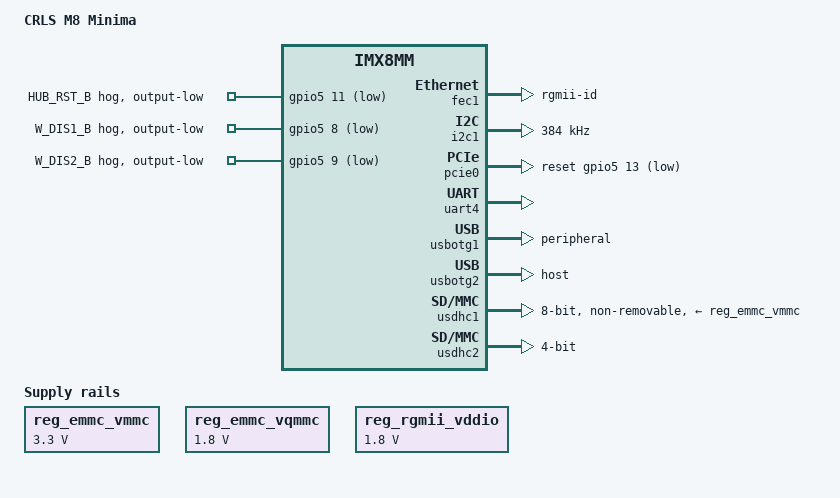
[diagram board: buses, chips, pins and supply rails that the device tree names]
// SPDX-License-Identifier: GPL-2.0+
/*
 * Copyright 2020 NXP
 */

/dts-v1/;

#include "imx8mm-m8-minima-evk-base.dtsi"


/ {
	model = "CRLS M8 Minima";
	compatible = "crls,m8-minima", "fsl,imx8mm";

	/* EVK peripherals that are not on this board (see MIMX8MM6xxxLZ.mex) */
	/delete-node/ hdmi-connector;
	/delete-node/ leds;
	/delete-node/ backlight;
	/delete-node/ ir-receiver;
	/delete-node/ sound-bt-sco;
	/delete-node/ sound-wm8524;
	/delete-node/ sound-micfil;
	/delete-node/ sound-spdif;
	/delete-node/ audio-codec-bt-sco;
	/delete-node/ audio-codec;
	/delete-node/ spdif-out;
	/delete-node/ spdif-in;
	/delete-node/ regulator-usdhc2;
};

/* Only I2C1 (PMIC) is routed; I2C2/I2C3 carry EVK-only devices */
&i2c2 {
	status = "disabled";
	/delete-node/ hdmi@3d;
	/delete-node/ tcpc@50;
};

&i2c3 {
	status = "disabled";
};

&csi {
	status = "disabled";
};

&mipi_csi {
	status = "disabled";
};

&lcdif {
	status = "disabled";
};

&mipi_dsi {
	status = "disabled";

	ports {
		/delete-node/ port@1;
	};
};

&micfil {
	status = "disabled";
};

/* SAI2_TXC is reused for ENET_INT_B */
&sai2 {
	status = "disabled";
};

&sai3 {
	status = "disabled";
};

&pwm1 {
	status = "disabled";
};

&fec1 {
	pinctrl-0 = <&pinctrl_fec1>, <&pinctrl_enet_ctrl>;
	phy-mode = "rgmii-id";
};

&ethphy0 {
	reg = <1>;
	/delete-property/ qca,disable-smarteee;
	/*
	 * Rev 2: PHYRSTB is a 3.3 V input on the RTL8211F, so ENET_RST_B moved
	 * from SAI2_TXFS (1.8 V NVCC_SAI2) to I2C4_SDA (3.3 V NVCC_I2C).
	 */
	reset-gpios = <&gpio5 21 GPIO_ACTIVE_LOW>;	/* ENET_RST_B, I2C4_SDA */
	interrupt-parent = <&gpio4>;
	interrupts = <25 IRQ_TYPE_LEVEL_LOW>;		/* ENET_INT_B, SAI2_TXC */
	vddio-supply = <&reg_rgmii_vddio>;
};

&i2c1 {
	clock-frequency = <384000>;
};

/*
 * M.2 Key-E (J1101), populated with an Intel AX210: PCIe x1 for WiFi,
 * USB2 (via USB2514B DN4) for Bluetooth. There is no external clock
 * generator; the SoC drives the 100 MHz refclk out of PCIE_REF_PAD_CLK.
 * CLKREQ# is routed, but the refclk is kept free-running for bring-up.
 */
&pcie_phy {
	clocks = <&clk IMX8MM_CLK_PCIE1_PHY>;
	clock-names = "ref";
	fsl,refclk-pad-mode = <IMX8_PCIE_REFCLK_PAD_OUTPUT>;
	fsl,clkreq-unsupported;
};

&pcie0 {
	pinctrl-names = "default";
	pinctrl-0 = <&pinctrl_pcie0>;
	reset-gpio = <&gpio5 13 GPIO_ACTIVE_LOW>;	/* PCI_RST_B, ECSPI2_SS0 */
	clocks = <&clk IMX8MM_CLK_PCIE1_ROOT>, <&clk IMX8MM_CLK_PCIE1_PHY>,
		 <&clk IMX8MM_CLK_PCIE1_AUX>;
	vpcie-supply = <&reg_pcie0>;
	status = "okay";
};

/* M.2 3.3 V comes straight from BUCK6, no load switch */
&reg_pcie0 {
	/delete-property/ pinctrl-names;
	/delete-property/ pinctrl-0;
	/delete-property/ gpio;
	/delete-property/ enable-active-high;
	regulator-name = "M2_3V3";
	regulator-always-on;
};

/*
 * UART2/UART4 are 115200 login consoles (CH342K). SDMA needs NXP's
 * sdma-imx7d.bin (not shipped), and without it UART4 floods the log with
 * "cannot prepare for the TX slave dma", so run both in PIO mode.
 */
&uart2 {
	/delete-property/ dmas;
	/delete-property/ dma-names;
};

&uart4 {
	pinctrl-names = "default";
	pinctrl-0 = <&pinctrl_uart4>;
	/delete-property/ dmas;
	/delete-property/ dma-names;
	status = "okay";
};

&usbotg1 {
	dr_mode = "peripheral";
	/delete-property/ hnp-disable;
	/delete-property/ srp-disable;
	/delete-property/ adp-disable;
	/delete-property/ usb-role-switch;
	/delete-property/ disable-over-current;
	/delete-node/ port;
};

&usbotg2 {
	dr_mode = "host";
	status = "okay";
};

&usdhc1 {
	pinctrl-names = "default", "state_100mhz", "state_200mhz";
	pinctrl-0 = <&pinctrl_usdhc1>;
	pinctrl-1 = <&pinctrl_usdhc1_100mhz>;
	pinctrl-2 = <&pinctrl_usdhc1_200mhz>;
	bus-width = <8>;
	vmmc-supply = <&reg_emmc_vmmc>;
	vqmmc-supply = <&reg_emmc_vqmmc>;
	non-removable;
	status = "okay";
};

/* microSD: no card-detect line on this board */
&usdhc2 {
	/delete-property/ cd-gpios;
	/delete-property/ vmmc-supply;
	pinctrl-0 = <&pinctrl_usdhc2>;
	pinctrl-1 = <&pinctrl_usdhc2_100mhz>;
	pinctrl-2 = <&pinctrl_usdhc2_200mhz>;
	broken-cd;
	bus-width = <4>;
	status = "okay";
};

&wdog1 {
	pinctrl-0 = <&pinctrl_wdog>;
};

&iomuxc {
	/* EVK group minus SAI2_RXC (EVK PHY reset, unused here) */
	pinctrl_fec1: fec1grp {
		fsl,pins = <
			MX8MM_IOMUXC_ENET_MDC_ENET1_MDC			0x3
			MX8MM_IOMUXC_ENET_MDIO_ENET1_MDIO		0x3
			MX8MM_IOMUXC_ENET_TD3_ENET1_RGMII_TD3		0x1f
			MX8MM_IOMUXC_ENET_TD2_ENET1_RGMII_TD2		0x1f
			MX8MM_IOMUXC_ENET_TD1_ENET1_RGMII_TD1		0x1f
			MX8MM_IOMUXC_ENET_TD0_ENET1_RGMII_TD0		0x1f
			MX8MM_IOMUXC_ENET_RD3_ENET1_RGMII_RD3		0x91
			MX8MM_IOMUXC_ENET_RD2_ENET1_RGMII_RD2		0x91
			MX8MM_IOMUXC_ENET_RD1_ENET1_RGMII_RD1		0x91
			MX8MM_IOMUXC_ENET_RD0_ENET1_RGMII_RD0		0x91
			MX8MM_IOMUXC_ENET_TXC_ENET1_RGMII_TXC		0x1f
			MX8MM_IOMUXC_ENET_RXC_ENET1_RGMII_RXC		0x91
			MX8MM_IOMUXC_ENET_RX_CTL_ENET1_RGMII_RX_CTL	0x91
			MX8MM_IOMUXC_ENET_TX_CTL_ENET1_RGMII_TX_CTL	0x1f
		>;
	};

	pinctrl_enet_ctrl: enetctrlgrp {
		fsl,pins = <
			MX8MM_IOMUXC_I2C4_SDA_GPIO5_IO21	0x19	/* ENET_RST_B */
			MX8MM_IOMUXC_SAI2_TXC_GPIO4_IO25	0x141	/* ENET_INT_B */
		>;
	};

	pinctrl_pcie0: pcie0grp {
		fsl,pins = <
			MX8MM_IOMUXC_I2C4_SCL_PCIE1_CLKREQ_B	0x61	/* CLKREQ_B */
			MX8MM_IOMUXC_ECSPI2_SS0_GPIO5_IO13	0x19	/* PCI_RST_B */
		>;
	};

	/* 3.3 V (NVCC_ECSPI) sidebands, all with 10k pull-ups to 3.3 V */
	pinctrl_gpio5: gpio5grp {
		fsl,pins = <
			MX8MM_IOMUXC_ECSPI2_MOSI_GPIO5_IO11	0x19	/* HUB_RST_B */
			MX8MM_IOMUXC_ECSPI1_MISO_GPIO5_IO8	0x19	/* W_DIS1_B (WiFi) */
			MX8MM_IOMUXC_ECSPI1_SS0_GPIO5_IO9	0x19	/* W_DIS2_B (BT) */
			MX8MM_IOMUXC_ECSPI2_MISO_GPIO5_IO12	0x140	/* PCI_WAKE_B */
		>;
	};

	pinctrl_uart4: uart4grp {
		fsl,pins = <
			MX8MM_IOMUXC_UART4_RXD_UART4_DCE_RX	0x140
			MX8MM_IOMUXC_UART4_TXD_UART4_DCE_TX	0x140
		>;
	};

	pinctrl_usdhc1: usdhc1grp {
		fsl,pins = <
			MX8MM_IOMUXC_SD1_CLK_USDHC1_CLK		0x190
			MX8MM_IOMUXC_SD1_CMD_USDHC1_CMD		0x1d0
			MX8MM_IOMUXC_SD1_DATA0_USDHC1_DATA0	0x1d0
			MX8MM_IOMUXC_SD1_DATA1_USDHC1_DATA1	0x1d0
			MX8MM_IOMUXC_SD1_DATA2_USDHC1_DATA2	0x1d0
			MX8MM_IOMUXC_SD1_DATA3_USDHC1_DATA3	0x1d0
			MX8MM_IOMUXC_SD1_DATA4_USDHC1_DATA4	0x1d0
			MX8MM_IOMUXC_SD1_DATA5_USDHC1_DATA5	0x1d0
			MX8MM_IOMUXC_SD1_DATA6_USDHC1_DATA6	0x1d0
			MX8MM_IOMUXC_SD1_DATA7_USDHC1_DATA7	0x1d0
			MX8MM_IOMUXC_SD1_STROBE_USDHC1_STROBE	0x190
		>;
	};

	pinctrl_usdhc1_100mhz: usdhc1-100mhzgrp {
		fsl,pins = <
			MX8MM_IOMUXC_SD1_CLK_USDHC1_CLK		0x194
			MX8MM_IOMUXC_SD1_CMD_USDHC1_CMD		0x1d4
			MX8MM_IOMUXC_SD1_DATA0_USDHC1_DATA0	0x1d4
			MX8MM_IOMUXC_SD1_DATA1_USDHC1_DATA1	0x1d4
			MX8MM_IOMUXC_SD1_DATA2_USDHC1_DATA2	0x1d4
			MX8MM_IOMUXC_SD1_DATA3_USDHC1_DATA3	0x1d4
			MX8MM_IOMUXC_SD1_DATA4_USDHC1_DATA4	0x1d4
			MX8MM_IOMUXC_SD1_DATA5_USDHC1_DATA5	0x1d4
			MX8MM_IOMUXC_SD1_DATA6_USDHC1_DATA6	0x1d4
			MX8MM_IOMUXC_SD1_DATA7_USDHC1_DATA7	0x1d4
			MX8MM_IOMUXC_SD1_STROBE_USDHC1_STROBE	0x194
		>;
	};

	pinctrl_usdhc1_200mhz: usdhc1-200mhzgrp {
		fsl,pins = <
			MX8MM_IOMUXC_SD1_CLK_USDHC1_CLK		0x196
			MX8MM_IOMUXC_SD1_CMD_USDHC1_CMD		0x1d6
			MX8MM_IOMUXC_SD1_DATA0_USDHC1_DATA0	0x1d6
			MX8MM_IOMUXC_SD1_DATA1_USDHC1_DATA1	0x1d6
			MX8MM_IOMUXC_SD1_DATA2_USDHC1_DATA2	0x1d6
			MX8MM_IOMUXC_SD1_DATA3_USDHC1_DATA3	0x1d6
			MX8MM_IOMUXC_SD1_DATA4_USDHC1_DATA4	0x1d6
			MX8MM_IOMUXC_SD1_DATA5_USDHC1_DATA5	0x1d6
			MX8MM_IOMUXC_SD1_DATA6_USDHC1_DATA6	0x1d6
			MX8MM_IOMUXC_SD1_DATA7_USDHC1_DATA7	0x1d6
			MX8MM_IOMUXC_SD1_STROBE_USDHC1_STROBE	0x196
		>;
	};
};

/*
 * Hogs use GPIO_ACTIVE_LOW + output-low, i.e. "deasserted": the pin is
 * driven high, so the hub runs and neither M.2 radio is disabled.
 */
&gpio5 {
	pinctrl-names = "default";
	pinctrl-0 = <&pinctrl_gpio5>;

	hub-reset-hog {
		gpio-hog;
		gpios = <11 GPIO_ACTIVE_LOW>;
		output-low;
		line-name = "HUB_RST_B";
	};

	m2-wdis1-hog {
		gpio-hog;
		gpios = <8 GPIO_ACTIVE_LOW>;
		output-low;
		line-name = "W_DIS1_B";
	};

	m2-wdis2-hog {
		gpio-hog;
		gpios = <9 GPIO_ACTIVE_LOW>;
		output-low;
		line-name = "W_DIS2_B";
	};
};

/ {
	reg_emmc_vmmc: regulator-emmc-vmmc {
		compatible = "regulator-fixed";
		regulator-name = "eMMC_VCC";
		regulator-min-microvolt = <3300000>;
		regulator-max-microvolt = <3300000>;
		regulator-always-on;
	};

	reg_emmc_vqmmc: regulator-emmc-vqmmc {
		compatible = "regulator-fixed";
		regulator-name = "eMMC_VCCQ";
		regulator-min-microvolt = <1800000>;
		regulator-max-microvolt = <1800000>;
		regulator-always-on;
	};

	reg_rgmii_vddio: regulator-rgmii-vddio {
		compatible = "regulator-fixed";
		regulator-name = "RGMII_VDDIO";
		regulator-min-microvolt = <1800000>;
		regulator-max-microvolt = <1800000>;
		regulator-always-on;
	};
};

